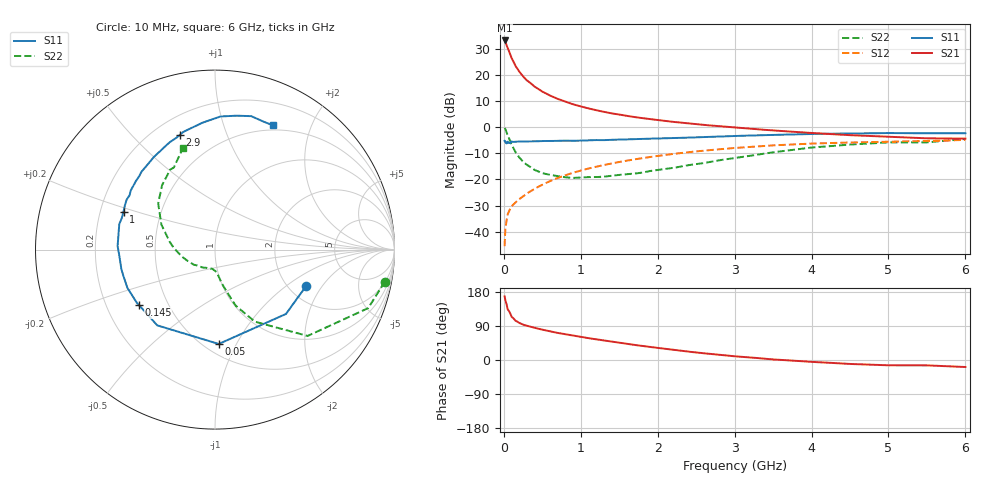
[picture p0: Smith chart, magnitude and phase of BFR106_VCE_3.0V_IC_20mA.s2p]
! Infineon Technologies  Discrete & RF Semiconductors
! BFR106
! VCE =  3.0 V,  IC =  20 mA
! Common Emitter S-Parameters:  Nov 2015
# GHz  S  MA  R  50
!  f  S11  S21  S12  S22
! GHz  MAG  ANG  MAG  ANG  MAG  ANG  MAG  ANG
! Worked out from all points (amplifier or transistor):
!   210 points, 10 MHz to 6 GHz, reference 50 ohm
!   highest |S21| = 33.1 dB at 10 MHz (marker M1)
!   |S21| within 3 dB of that: start of sweep to 51.88 MHz
!   unconditionally stable (mu >= 1): 369.9 MHz to 2.299 GHz; 5.351 GHz to end of sweep
!   at 185 MHz: K = 0.77, MSG = 24.9 dB, |S12| = -27.9 dB
!   at 1.52 GHz: K = 1.06, MAG = 7.5 dB, |S12| = -13.2 dB
!   at 6 GHz: K = 1.00, MAG = -0.1 dB, |S12| = -4.9 dB
!   S11 on the Smith chart (normalised r, x): 10 MHz: 2.46, -1.43; 50 MHz: 0.59, -0.85; 145 MHz: 0.34, -0.29; 1 GHz: 0.30, +0.18; 2.9 GHz: 0.30, +0.70; 6 GHz: 0.44, +1.47
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0.01  0.5462 -22.0  45.36 167.7  0.0053 83.3  0.9631 -10.7
0.02  0.5338 -42.2  42.94 157.6  0.0111 75.6  0.9137 -20.9
0.05  0.5261 -87.7  32.6 134.0  0.0215 59.4  0.7054 -43.0
0.1  0.5308 -127.3  21.04 114.3  0.0305 52.5  0.4591 -61.0
0.145  0.5245 -144.1  15.47 105.3  0.0355 52.9  0.3458 -68.5
0.15  0.5266 -145.9  14.88 103.9  0.0361 52.9  0.3337 -69.7
0.2  0.5326 -156.2  11.53 97.9  0.0418 55.4  0.2636 -73.1
0.26  0.5313 -164.6  8.998 92.7  0.0487 57.8  0.211 -76.9
0.3  0.5327 -168.5  7.819 90.0  0.0537 59.9  0.1903 -78.8
0.4  0.5339 -176.3  5.941 84.6  0.0661 62.5  0.1521 -82.1
0.5  0.543 177.9  4.774 79.9  0.0792 64.5  0.1315 -84.5
0.6  0.5432 172.9  4.014 75.6  0.0928 65.1  0.1221 -87.4
0.8  0.5519 165.1  3.053 67.9  0.1203 65.1  0.11 -95.5
1  0.5516 157.5  2.481 61.1  0.1478 64.0  0.109 -102.3
1.02  0.553 156.8  2.44 60.4  0.1505 63.8  0.1093 -103.4
1.4  0.5738 144.8  1.832 48.5  0.2021 60.1  0.1178 -120.7
2.02  0.6054 127.9  1.353 31.4  0.284 51.9  0.1531 -150.7
2.9  0.6688 107.0  1.011 11.9  0.3881 38.6  0.2439 173.4
3.1  0.6839 103.1  0.958 8.3  0.4083 35.4  0.2689 166.6
4.1  0.7442 86.2  0.758 -5.9  0.489 19.9  0.4173 138.4
5.1  0.7682 73.7  0.643 -14.0  0.5298 6.7  0.511 118.7
6  0.7635 65.1  0.603 -18.5  0.5706 -3.1  0.5939 107.5
